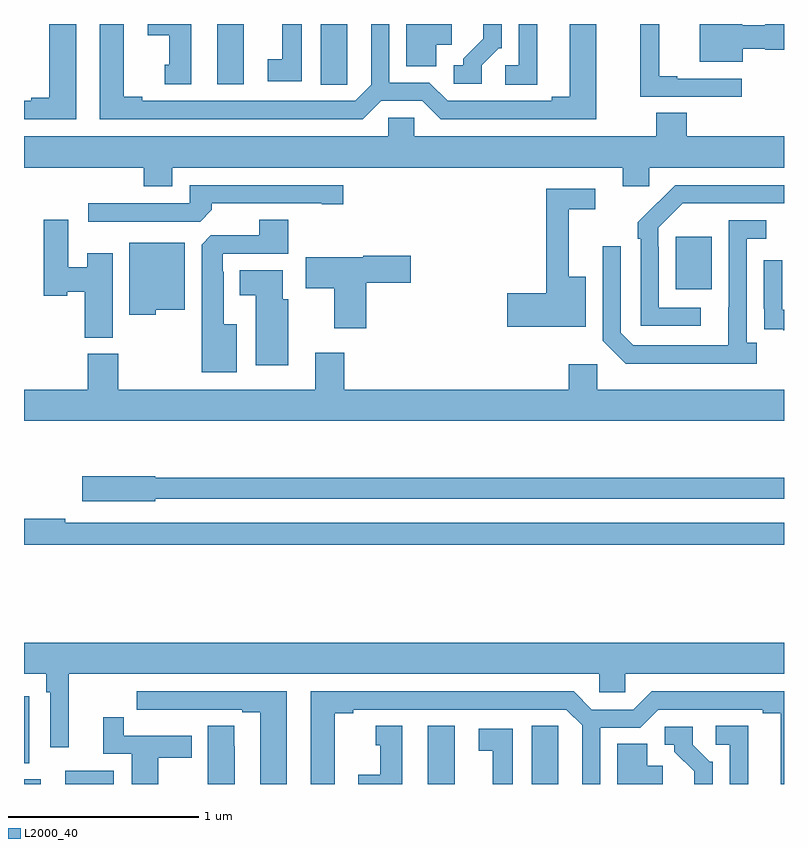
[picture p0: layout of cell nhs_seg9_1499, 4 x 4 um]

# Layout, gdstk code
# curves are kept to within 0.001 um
import gdstk
lib = gdstk.Library(unit=1e-6, precision=1e-09)
def R(c, l, rs):  # rectangles x0, y0, x1, y1
    for r in rs: c.add(gdstk.rectangle(r[:2], r[2:], *l))
def P(c, l, *ps):  # polygons
    for p in ps: c.add(gdstk.Polygon(p, *l))
L2000_40 = (2000, 40)

nhs_seg9_1499 = lib.new_cell('nhs_seg9_1499')
R(nhs_seg9_1499, L2000_40, [(195,1202.5,195.088,1202.524), (195.218,1202.5,195.472,1202.569), (197.126,1202.5,197.266,1202.806), (195,1202.609,195.028,1202.962), (198.431,1205.105,198.619,1205.38), (196.016,1206.183,196.156,1206.5)])
P(nhs_seg9_1499, L2000_40, [(196.879,1206.096),(197.097,1206.096),(197.193,1206),(198.013,1206),(198.013,1206.5),(197.873,1206.5),(197.873,1206.116),(197.777,1206.116),(197.777,1206.096),(197.229,1206.096),(197.133,1206.192),(196.923,1206.192),(196.923,1206.5),(196.827,1206.5),(196.827,1206.18),(196.743,1206.096),(195.622,1206.096),(195.622,1206.116),(195.526,1206.116),(195.526,1206.5),(195.398,1206.5),(195.398,1206),(196.783,1206)],
  [(195.88,1206.5),(195.65,1206.5),(195.65,1206.44),(195.764,1206.44),(195.764,1206.285),(195.74,1206.285),(195.74,1206.183),(195.88,1206.183)],
  [(195.274,1206.5),(195.134,1206.5),(195.134,1206.111),(195.038,1206.111),(195.038,1206.096),(195,1206.096),(195,1206),(195.274,1206)],
  [(198.784,1206.371),(198.9,1206.371),(198.9,1206.364),(199,1206.364),(199,1206.5),(198.9,1206.5),(198.9,1206.493),(198.78,1206.493),(198.78,1206.5),(198.557,1206.5),(198.557,1206.302),(198.784,1206.302)],
  [(197.17,1206.392),(197.251,1206.392),(197.251,1206.5),(197.012,1206.5),(197.012,1206.277),(197.17,1206.277)],
  [(197.701,1206.5),(197.604,1206.5),(197.604,1206.282),(197.532,1206.282),(197.532,1206.181),(197.701,1206.181)],
  [(198.778,1206.213),(198.439,1206.213),(198.439,1206.226),(198.344,1206.226),(198.344,1206.5),(198.244,1206.5),(198.244,1206.117),(198.778,1206.117)],
  [(196.701,1206.289),(196.702,1206.289),(196.702,1206.5),(196.562,1206.5),(196.562,1206.181),(196.701,1206.181)],
  [(196.462,1206.5),(196.358,1206.5),(196.358,1206.314),(196.284,1206.314),(196.284,1206.198),(196.462,1206.198)],
  [(197.409,1206.282),(197.499,1206.372),(197.514,1206.372),(197.514,1206.5),(197.417,1206.5),(197.417,1206.422),(197.312,1206.317),(197.312,1206.282),(197.262,1206.282),(197.262,1206.186),(197.409,1206.186)],
  [(195.781,1205.744),(198.152,1205.744),(198.152,1205.646),(198.291,1205.646),(198.291,1205.744),(199,1205.744),(199,1205.908),(198.488,1205.908),(198.488,1206.032),(198.328,1206.032),(198.328,1205.908),(197.055,1205.908),(197.055,1206.006),(196.917,1206.006),(196.917,1205.908),(195,1205.908),(195,1205.744),(195.629,1205.744),(195.629,1205.645),(195.781,1205.645)],
  [(198.562,1205.007),(198.342,1205.007),(198.342,1205.327),(198.339,1205.327),(198.339,1205.427),(198.468,1205.556),(199,1205.556),(199,1205.652),(198.428,1205.652),(198.231,1205.457),(198.231,1205.369),(198.246,1205.369),(198.246,1204.911),(198.562,1204.911)],
  [(195.989,1205.522),(195.989,1205.556),(196.568,1205.556),(196.568,1205.551),(196.681,1205.551),(196.681,1205.652),(195.873,1205.652),(195.873,1205.556),(195.339,1205.556),(195.339,1205.46),(195.927,1205.46)],
  [(197.956,1205.17),(197.867,1205.17),(197.867,1205.526),(198.007,1205.526),(198.007,1205.634),(197.749,1205.634),(197.749,1205.084),(197.544,1205.084),(197.544,1204.906),(197.956,1204.906)],
  [(196.12,1204.921),(196.051,1204.921),(196.051,1205.195),(196.047,1205.195),(196.047,1205.292),(196.391,1205.292),(196.391,1205.471),(196.238,1205.471),(196.238,1205.388),(195.984,1205.388),(195.935,1205.339),(195.935,1204.667),(196.12,1204.667)],
  [(195.466,1205.293),(195.332,1205.293),(195.332,1205.221),(195.232,1205.221),(195.232,1205.47),(195.103,1205.47),(195.103,1205.069),(195.228,1205.069),(195.228,1205.092),(195.32,1205.092),(195.32,1204.849),(195.466,1204.849)],
  [(198.856,1204.822),(198.804,1204.822),(198.804,1205.37),(198.907,1205.37),(198.907,1205.466),(198.708,1205.466),(198.707,1204.809),(198.207,1204.809),(198.141,1204.875),(198.141,1205.329),(198.045,1205.329),(198.045,1204.833),(198.166,1204.712),(198.856,1204.712)],
  [(195.693,1204.997),(195.847,1204.997),(195.847,1205.35),(195.554,1205.35),(195.554,1204.97),(195.693,1204.97)],
  [(196.802,1205.138),(197.035,1205.138),(197.035,1205.28),(196.785,1205.28),(196.785,1205.272),(196.482,1205.272),(196.482,1205.11),(196.634,1205.11),(196.634,1204.899),(196.802,1204.899)],
  [(199,1204.995),(198.99,1204.995),(198.99,1205.257),(198.894,1205.257),(198.894,1205.002),(198.895,1205.002),(198.895,1204.893),(198.997,1204.893),(198.997,1204.887),(199,1204.887)],
  [(196.39,1205.052),(196.363,1205.052),(196.363,1205.203),(196.136,1205.203),(196.136,1205.072),(196.22,1205.072),(196.22,1204.704),(196.39,1204.704)],
  [(199,1204.576),(198.018,1204.576),(198.018,1204.708),(197.867,1204.708),(197.867,1204.576),(196.685,1204.576),(196.685,1204.771),(196.532,1204.771),(196.532,1204.576),(195.495,1204.576),(195.495,1204.764),(195.335,1204.764),(195.335,1204.576),(195,1204.576),(195,1204.412),(199,1204.412)],
  [(195.69,1204.002),(199,1204.002),(199,1204.111),(195.69,1204.111),(195.69,1204.119),(195.306,1204.119),(195.306,1203.989),(195.69,1203.989)],
  [(199,1203.876),(195.218,1203.876),(195.218,1203.896),(195,1203.896),(195,1203.76),(199,1203.76)],
  [(195.236,1203.08),(198.027,1203.08),(198.027,1202.982),(198.165,1202.982),(198.165,1203.08),(199,1203.08),(199,1203.244),(195,1203.244),(195,1203.08),(195.118,1203.08),(195.118,1202.984),(195.138,1202.984),(195.138,1202.694),(195.236,1202.694)],
  [(196.384,1202.988),(195.594,1202.988),(195.594,1202.892),(195.706,1202.892),(195.706,1202.891),(195.872,1202.891),(195.872,1202.892),(196.148,1202.892),(196.148,1202.877),(196.244,1202.877),(196.244,1202.5),(196.384,1202.5)],
  [(196.636,1202.872),(196.732,1202.872),(196.732,1202.892),(197.853,1202.892),(197.937,1202.808),(197.937,1202.5),(198.033,1202.5),(198.033,1202.796),(198.243,1202.796),(198.339,1202.892),(198.887,1202.892),(198.887,1202.872),(198.983,1202.872),(198.983,1202.5),(199,1202.5),(199,1202.988),(198.303,1202.988),(198.207,1202.892),(197.989,1202.892),(197.893,1202.988),(196.508,1202.988),(196.508,1202.5),(196.636,1202.5)],
  [(195.706,1202.638),(195.883,1202.638),(195.883,1202.754),(195.524,1202.754),(195.524,1202.851),(195.416,1202.851),(195.416,1202.658),(195.566,1202.658),(195.566,1202.5),(195.706,1202.5)],
  [(197.812,1202.699),(197.811,1202.699),(197.811,1202.807),(197.672,1202.807),(197.672,1202.5),(197.812,1202.5)],
  [(196.108,1202.699),(196.107,1202.699),(196.107,1202.807),(195.968,1202.807),(195.968,1202.5),(196.108,1202.5)],
  [(198.811,1202.807),(198.642,1202.807),(198.642,1202.706),(198.714,1202.706),(198.714,1202.5),(198.811,1202.5)],
  [(196.99,1202.806),(196.85,1202.806),(196.85,1202.703),(196.874,1202.703),(196.874,1202.548),(196.76,1202.548),(196.76,1202.5),(196.99,1202.5)],
  [(198.624,1202.616),(198.609,1202.616),(198.519,1202.706),(198.519,1202.802),(198.372,1202.802),(198.372,1202.706),(198.422,1202.706),(198.422,1202.671),(198.527,1202.566),(198.527,1202.5),(198.624,1202.5)],
  [(197.572,1202.79),(197.394,1202.79),(197.394,1202.674),(197.468,1202.674),(197.468,1202.5),(197.572,1202.5)],
  [(198.361,1202.596),(198.28,1202.596),(198.28,1202.711),(198.122,1202.711),(198.122,1202.5),(198.361,1202.5)])

lib.write_gds('nhs_seg9_1499.gds')
